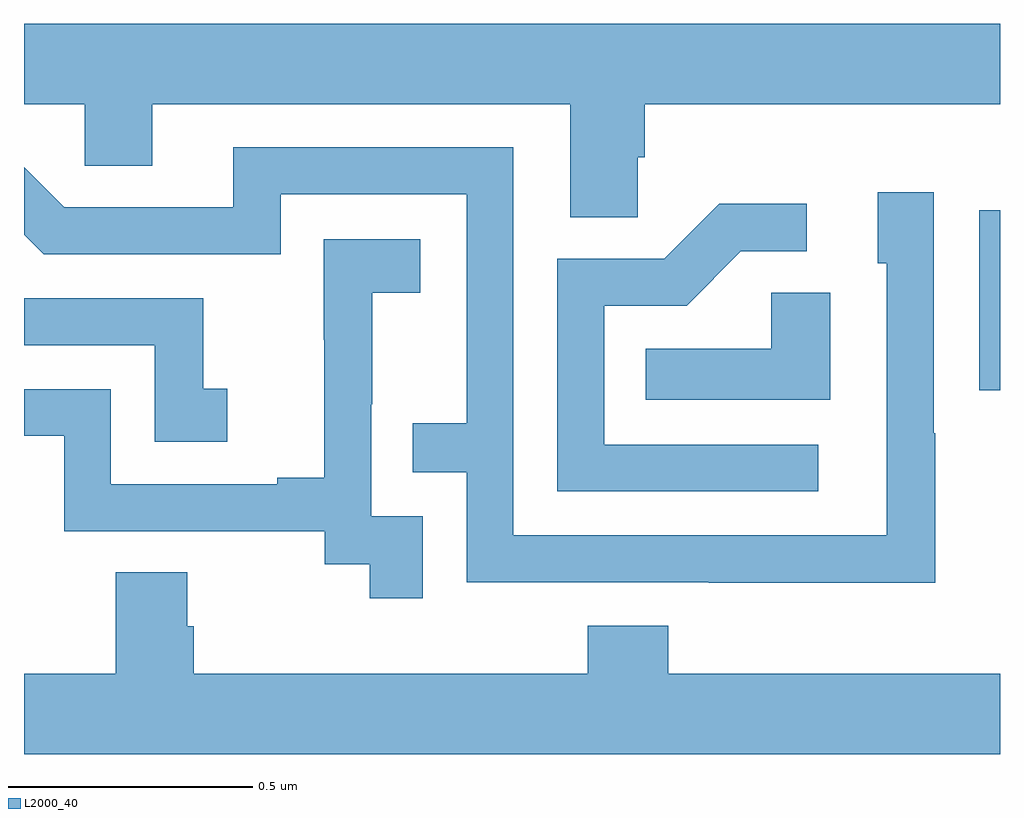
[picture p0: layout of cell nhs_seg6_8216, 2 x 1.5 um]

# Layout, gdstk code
import gdstk
lib = gdstk.Library(unit=1e-6, precision=1e-09)
def R(c, l, rs):  # rectangles x0, y0, x1, y1
    for r in rs: c.add(gdstk.rectangle(r[:2], r[2:], *l))
def P(c, l, *ps):  # polygons
    for p in ps: c.add(gdstk.Polygon(p, *l))
L2000_40 = (2000, 40)

nhs_seg6_8216 = lib.new_cell('nhs_seg6_8216')
R(nhs_seg6_8216, L2000_40, [(219.957,957.405,220,957.774)])
P(nhs_seg6_8216, L2000_40, [(219.258,957.883),(219.272,957.883),(219.272,957.992),(220,957.992),(220,958.156),(218,958.156),(218,957.992),(218.124,957.992),(218.124,957.865),(218.263,957.865),(218.263,957.992),(219.119,957.992),(219.119,957.76),(219.258,957.76)],
  [(219.867,957.317),(219.864,957.317),(219.864,957.811),(219.749,957.811),(219.749,957.666),(219.768,957.666),(219.768,957.108),(219.003,957.108),(219.003,957.903),(218.429,957.903),(218.429,957.78),(218.082,957.78),(218,957.862),(218,957.724),(218.04,957.684),(218.526,957.684),(218.526,957.807),(218.907,957.807),(218.907,957.338),(218.797,957.338),(218.797,957.237),(218.907,957.237),(218.907,957.012),(219.403,957.012),(219.403,957.011),(219.867,957.011)],
  [(219.628,957.294),(219.189,957.294),(219.189,957.579),(219.358,957.579),(219.469,957.69),(219.604,957.69),(219.604,957.788),(219.425,957.788),(219.312,957.675),(219.093,957.675),(219.093,957.198),(219.628,957.198)],
  [(218.817,957.147),(218.712,957.147),(218.712,957.377),(218.714,957.377),(218.714,957.605),(218.812,957.605),(218.812,957.715),(218.614,957.715),(218.614,957.509),(218.615,957.509),(218.615,957.226),(218.519,957.226),(218.519,957.213),(218.178,957.213),(218.178,957.408),(218,957.408),(218,957.312),(218.082,957.312),(218.082,957.117),(218.616,957.117),(218.616,957.049),(218.709,957.049),(218.709,956.979),(218.817,956.979)],
  [(219.652,957.605),(219.531,957.605),(219.531,957.49),(219.274,957.49),(219.274,957.386),(219.652,957.386)],
  [(218.416,957.409),(218.367,957.409),(218.367,957.594),(218,957.594),(218,957.498),(218.268,957.498),(218.268,957.3),(218.416,957.3)],
  [(220,956.824),(219.32,956.824),(219.32,956.923),(219.155,956.923),(219.155,956.824),(218.348,956.824),(218.348,956.922),(218.335,956.922),(218.335,957.032),(218.188,957.032),(218.188,956.824),(218,956.824),(218,956.66),(220,956.66)])

lib.write_gds('nhs_seg6_8216.gds')
